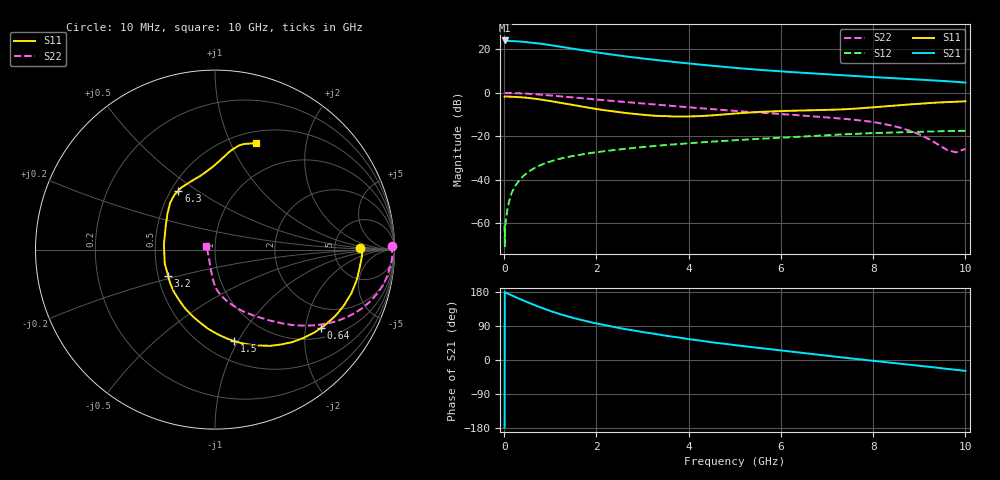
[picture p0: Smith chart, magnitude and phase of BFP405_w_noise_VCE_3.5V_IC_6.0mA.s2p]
! Infineon Technologies  Discrete & RF Semiconductors
! BFP405
! VCE =  3.5 V,  IC =  6.0 mA
! Common Emitter S-Parameters:  Jan 2016
# GHz  S  MA  R  50
!  f  S11  S21  S12  S22
! GHz  MAG  ANG  MAG  ANG  MAG  ANG  MAG  ANG
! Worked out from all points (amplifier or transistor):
!   233 points, 10 MHz to 10 GHz, reference 50 ohm
!   highest |S21| = 24.0 dB at 10 MHz (marker M1)
!   |S21| within 3 dB of that: start of sweep to 1.259 GHz
!   unconditionally stable (mu >= 1): 12.6 MHz to 17.64 MHz; 3.23 GHz to end of sweep
!   at 200 MHz: K = 0.13, MSG = 34.1 dB, |S12| = -44.4 dB
!   at 1.74 GHz: K = 0.60, MSG = 23.7 dB, |S12| = -28.1 dB
!   at 10 GHz: K = 1.42, MAG = 7.2 dB, |S12| = -17.5 dB
!   lowest NFmin = 1.32 dB at 900 MHz
!   S11 on the Smith chart (normalised r, x): 10 MHz: 9.25, +0.59; 640 MHz: 1.28, -2.42; 1.5 GHz: 0.69, -0.96; 3.2 GHz: 0.56, -0.18; 6.3 GHz: 0.55, +0.42; 10 GHz: 0.63, +1.25
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0.01  0.8056 0.8  15.85 -178.2  0.0009 -67.8  0.9853 1.3
0.015  0.8128 -0.2  15.73 179.8  0.0003 -7.3  0.9845 0.7
0.02  0.8203 -1.1  15.63 177.7  0.0008 71.0  0.9839 0.1
0.105  0.8137 -6.1  15.44 173.5  0.0031 79.7  0.9883 -2.6
0.24  0.8029 -14.1  15.24 166.3  0.0072 81.1  0.9763 -6.4
0.44  0.7754 -25.7  14.68 155.7  0.0129 77.1  0.9595 -11.4
0.64  0.7334 -36.7  13.93 145.8  0.0182 72.4  0.9294 -16.1
0.8  0.6958 -45.2  13.29 138.1  0.022 69.1  0.9022 -19.5
1  0.6446 -55.1  12.38 129.4  0.0264 65.4  0.8654 -23.4
1.2  0.5923 -64.6  11.48 121.5  0.0303 62.0  0.8276 -26.9
1.5  0.5208 -78.2  10.21 111.0  0.0356 58.0  0.7737 -31.4
1.68  0.4825 -85.9  9.533 105.4  0.0384 56.0  0.7435 -33.7
2  0.4227 -99.7  8.451 96.4  0.043 52.9  0.6947 -37.4
2.4  0.3685 -116.8  7.358 86.6  0.0485 49.7  0.6402 -41.4
3.2  0.2992 -150.8  5.786 70.2  0.0591 44.1  0.5456 -48.5
3.4  0.2917 -159.8  5.48 66.3  0.0617 42.7  0.5235 -50.2
4  0.286 174.2  4.695 55.1  0.0693 38.7  0.463 -55.6
5.1  0.3379 140.7  3.652 37.8  0.0823 31.2  0.3768 -65.6
6.3  0.387 121.8  2.948 21.2  0.0969 23.6  0.308 -74.9
6.8  0.3977 113.0  2.727 14.2  0.1033 20.0  0.2812 -78.8
8.4  0.5009 86.4  2.156 -7.4  0.1219 6.8  0.1765 -92.8
10  0.6347 69.1  1.71 -28.8  0.1339 -5.5  0.0516 157.4
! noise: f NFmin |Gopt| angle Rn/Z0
0.9  1.32  0.32  10  0.32
1.8  1.58  0.25  16  0.31
2.4  1.71  0.21  23  0.31
3  1.74  0.18  41  0.28
4  1.9  0.07  58  0.25
5  2.27  0.03  180  0.23
